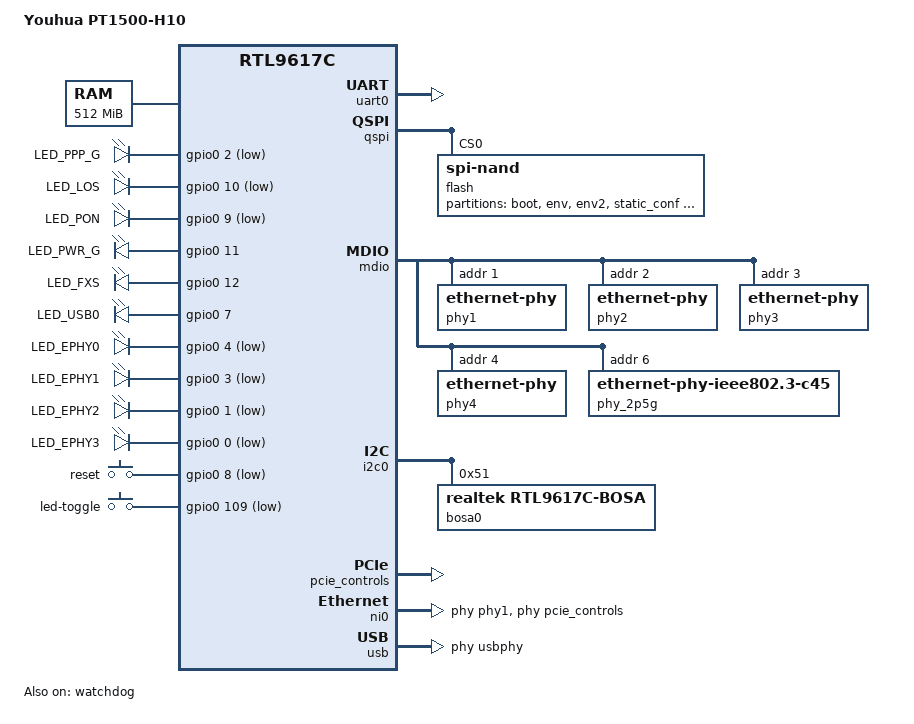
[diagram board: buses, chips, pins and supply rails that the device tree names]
// SPDX-License-Identifier: GPL-2.0-only
// Youhua PT1500-H10: 10G-EPON HGU on the RTL9617C (Cortina Taurus) reference
// design. Board facts (LED/button wiring, flash layout, reserved memory) are
// taken from this unit's own OEM DTB and live flash, not another Taurus board.
// No WiFi: the three PCIe controllers have no endpoints (PCIE2 clock gated);
// their nodes are omitted and only the shared pcie-controls block stays.
/dts-v1/;
#include "rtl9617c.dtsi"
#include <dt-bindings/gpio/gpio.h>
#include <dt-bindings/input/linux-event-codes.h>

/ {
	model = "Youhua PT1500-H10";
	compatible = "youhua,pt1500-h10", "realtek,rtl9617c";

	aliases {
		serial0 = &uart0;
		led-boot = &led_power;
		led-failsafe = &led_power;
		led-running = &led_power;
		led-upgrade = &led_power;
	};

	chosen {
		stdout-path = "serial0:115200n8";
		bootargs = "earlycon console=ttyS0,115200n8 loglevel=7 clk_ignore_unused maxcpus=4";
	};

	memory@0 {
		device_type = "memory";
		reg = <0 0 0 0x20000000>;
	};

	// Same reservations the OEM kernel carries; release only with live
	// firmware/BL31 evidence per reservation.
	reserved-memory {
		#address-cells = <2>;
		#size-cells = <2>;
		ranges;
		voip-vector@0 {
			reg = <0 0 0 0x1000>;
			no-map;
		};
		voip@2000000 {
			reg = <0 0x02000000 0 0x00300000>;
			no-map;
		};
		voip-ipc@2300000 {
			reg = <0 0x02300000 0 0x00100000>;
			no-map;
		};
		ddr-noncache@9000000 {
			reg = <0 0x09000000 0 0x01a50000>;
		};
		ddr-cache@bc48000 {
			reg = <0 0x0bc48000 0 0x10000>;
		};
		tz-smc@eeff000 {
			reg = <0 0x0eeff000 0 0x1000>;
			no-map;
		};
		tz@ffc0000 {
			reg = <0 0x0ffc0000 0 0x40000>;
		};
	};

	// Panel lamps exactly as the OEM rtk_gpio_led table wires them: all ten
	// sit on GPIO bank 0, mixed polarity (LED_EPHY0..3 and the PON/LOS/PPP
	// lamps are active low). Labels keep the OEM names because the target's
	// LED helpers (rc.button/lights_toggle, hotplug.d/iface) address them by
	// name.
	leds {
		compatible = "gpio-leds";

		internet {
			label = "LED_PPP_G";
			gpios = <&gpio0 2 GPIO_ACTIVE_LOW>;
			default-state = "off";
		};
		los {
			label = "LED_LOS";
			gpios = <&gpio0 10 GPIO_ACTIVE_LOW>;
		};
		pon {
			label = "LED_PON";
			gpios = <&gpio0 9 GPIO_ACTIVE_LOW>;
		};
		led_power: power {
			label = "LED_PWR_G";
			gpios = <&gpio0 11 GPIO_ACTIVE_HIGH>;
			default-state = "on";
		};
		phone {
			label = "LED_FXS";
			gpios = <&gpio0 12 GPIO_ACTIVE_HIGH>;
		};
		usb0 {
			label = "LED_USB0";
			gpios = <&gpio0 7 GPIO_ACTIVE_HIGH>;
			linux,default-trigger = "usbport";
		};
		lan0 {
			label = "LED_EPHY0";
			gpios = <&gpio0 4 GPIO_ACTIVE_LOW>;
		};
		lan1 {
			label = "LED_EPHY1";
			gpios = <&gpio0 3 GPIO_ACTIVE_LOW>;
		};
		lan2 {
			label = "LED_EPHY2";
			gpios = <&gpio0 1 GPIO_ACTIVE_LOW>;
		};
		lan3 {
			label = "LED_EPHY3";
			gpios = <&gpio0 0 GPIO_ACTIVE_LOW>;
		};
	};

	// OEM rtk_gpio board-reset-gpio is bank0 pin8, which is also U-Boot's
	// reset pin; the lights button is bank3 pin13 (gpio 96 + 13), the same
	// wiring the TYFZA1 uses.
	gpio-keys {
		compatible = "gpio-keys";

		reset {
			label = "reset";
			linux,code = <KEY_RESTART>;
			gpios = <&gpio0 8 GPIO_ACTIVE_LOW>;
			debounce-interval = <60>;
		};

		led-toggle {
			label = "led-toggle";
			linux,code = <KEY_LIGHTS_TOGGLE>;
			gpios = <&gpio0 109 GPIO_ACTIVE_LOW>;
			debounce-interval = <60>;
		};
	};
};

&uart0 {
	status = "okay";
};

// The OEM watchdog uses the same 134-cycle reset delay as TYFZA1.
&watchdog {
	reset-on-timeout;
	delay-reset = <134>;
	status = "okay";
};

&qspi {
	status = "okay";

	flash@0 {
		compatible = "spi-nand";
		reg = <0>;
		spi-tx-bus-width = <1>;
		spi-rx-bus-width = <1>;

		partitions {
			compatible = "fixed-partitions";
			#address-cells = <1>;
			#size-cells = <1>;

			partition@0 {
				label = "boot";
				reg = <0x0 0x200000>;
				read-only;
			};
			partition@280000 {
				label = "env";
				reg = <0x280000 0x40000>;
			};
			partition@2c0000 {
				label = "env2";
				reg = <0x2c0000 0x40000>;
			};
			partition@300000 {
				label = "static_conf";
				reg = <0x300000 0x40000>;
			};
			partition@340000 {
				label = "ubi_device";
				reg = <0x340000 0xf5c0000>;
			};
		};
	};
};

// PHY 1..4 are the four internal Taurus GPHYs behind the NI register window,
// not external RTL8211s: U-Boot reads 0x001ccac4 from each of them through
// 0xf4600000 (reg_base 0xf4600, phy_addr<<7, reg<<2). The 802.3 Clause 45
// part sits at address 7 on the MDIO pins (OEM scfg PHY 4 = addr 7, IF 0x0a).
&mdio {
	status = "okay";

	phy1: ethernet-phy@1 {
		reg = <1>;
	};
	phy2: ethernet-phy@2 {
		reg = <2>;
	};
	phy3: ethernet-phy@3 {
		reg = <3>;
	};
	phy4: ethernet-phy@4 {
		reg = <4>;
	};

	/* 2.5G jack: RTL8221B behind the Taurus SGMII lane, Clause 45 with the
	 * vendor HiSGMII bring-up (drivers/net/phy/realtek/rtl8221b-tyfza1.h).
	 * MDIO address 6: the bus scan reads 0x001cc849 there, while address 7
	 * (the OEM scfg table entry) answers nothing. */
	phy_2p5g: ethernet-phy@6 {
		compatible = "ethernet-phy-ieee802.3-c45";
		reg = <6>;
		realtek,hsgmii;
	};
};

&i2c0 {
	status = "okay";
	bosa0: optical-front-end@51 {
		compatible = "realtek,rtl9617c-bosa";
		reg = <0x51>;
	};
};

&{/soc} {
	pcie_controls: pcie-controls@f4320098 {
		compatible = "realtek,rtl9617c-pcie-controls";
		reg = <0 0xf4320098 0 4>, <0 0xf43200a0 0 4>,
		      <0 0xf43200c4 0 0x14>, <0 0xf432036c 0 4>, <0 0xf432009c 0 4>,
		      <4 0xf433b000 0 0x1000>, <0 0xf4600000 0 0x1000>;
		reg-names = "core-reset", "phy-reset", "phy-control", "power", "usb-reset",
			    "sgmii-analog", "sgmii-serdes";
		realtek,global-config = <&global_config>;
		#clock-cells = <1>;
		#reset-cells = <1>;
		#phy-cells = <1>;
	};

	gpio0: gpio@4f43292c0 {
		compatible = "realtek,rtl9617c-gpio";
		reg = <4 0xf43292c0 0 0xb4>;
		gpio-controller;
		#gpio-cells = <2>;
		gpio-ranges = <&pinctrl 0 0 160>;
	};

	ne_irq: interrupt-controller@f4320164 {
		compatible = "realtek,rtl9617c-per-ictl", "cortina,per-ictl";
		reg = <0 0xf4320164 0 0x10>;
		interrupt-controller;
		#interrupt-cells = <1>;
		#address-cells = <0>;
		interrupt-parent = <&gic>;
		interrupts = <GIC_SPI 1 IRQ_TYPE_LEVEL_HIGH>;
	};

	ni0: ethernet@4f4300000 {
		compatible = "realtek,rtl9617c-ni";
		reg = <4 0xf4300000 0 0x10000>, <0 0xf4500000 0 0x2000>,
		      <4 0xf7001000 0 0x1000>, <4 0xf432d000 0 0x1000>,
		      <4 0xf4320098 0 4>, <4 0xf432f000 0 0x1000>;
		reg-names = "ni", "xram", "dma-lso", "qm-axi-reorder", "block-reset",
			    "l3fe-axi-reorder";
		realtek,qm-rx;
		// Port 0 is the primary netdev of the NI; ports 1..3 ride the same
		// engine and port 4 is the SGMII lane that carries the 2.5G PHY.
		// NI port n (n < 4) carries external PHY n+1, which is the OEM's
		// MAC port n.
		realtek,port = <0>;
		phy-handle = <&phy1>;
		realtek,lan-phys = <&phy1 &phy2 &phy3 &phy4 &phy_2p5g>;
		phys = <&pcie_controls 5>;
		phy-names = "sgmii";
		interrupts = <GIC_SPI 84 IRQ_TYPE_LEVEL_HIGH>;
	};

	pon@4f5500000 {
		compatible = "realtek,rtl9617c-pon";
		realtek,network-engine = <&ni0>;
		realtek,optical-front-end = <&bosa0>;
		tx-disable-gpios = <&gpio0 15 GPIO_ACTIVE_HIGH>;
		reg = <4 0xf5500000 0 0xc000>, <4 0xf4320094 0 4>,
		      <4 0xf4320074 0 4>, <4 0xf432022c 0 4>,
		      <4 0xf4320080 0 8>, <4 0xf4320090 0 4>, <4 0xf4320180 0 8>, <4 0xf432007c 0 4>,
		      <4 0xf4329440 0 0x10>;
		reg-names = "mac", "control", "epon-control", "serdes-init", "optical-control", "optical-status", "top-irq", "gpon-control", "dying-gasp";
		interrupts-extended = <&ne_irq 5>, <&per_ictl 24>;
		interrupt-names = "pon", "dying-gasp";
		realtek,burst-polarity = <0>;
		realtek,los-invert = <0>;
	};

	usbphy: usb-phy@f432b020 {
		compatible = "realtek,rtl9617c-usb-phy";
		reg = <0 0xf432b020 0 0x18>, <0 0xf432b000 0 0x20>,
		      <0 0xf432b04c 0 0x10>, <0 0xf4337000 0 0x1000>,
		      <0 0xf432c500 0 0x1c>;
		reg-names = "usb2", "usb3", "extension", "serdes", "atu";
		#phy-cells = <0>;
		phys = <&pcie_controls 4>;
		phy-names = "lane";
		resets = <&pcie_controls 4>, <&pcie_controls 5>;
		reset-names = "core", "port1";
		// USB2 port-0 VBUS: stock bank4, pin13 (differs from TYFZA1).
		vbus-gpios = <&gpio0 141 GPIO_ACTIVE_HIGH>;
		realtek,usb2-addresses = [e0 e2 e4 e7 f4 e7 f4 e0 e0 e0];
		realtek,usb2-values-a = [1f f9 68 71 db 44 bb 25 21 25];
		realtek,usb3-addresses-a = [01 04 05 08 09 0a 0b 0d 0e 20 21 22 23 27 2b 33];
		realtek,usb3-values-a = /bits/ 16 <0xaccc 0x7000 0x6313 0x30d1 0x424c 0xa610 0xb905 0xef2e 0x1000 0x705e 0xf8e8 0x0003 0x0b66 0x0241 0x0038 0x0001>;
		realtek,usb2-values-b = [1f f9 6b 71 db 43 bb 26 22 26];
		realtek,usb3-addresses-b = [01 04 05 08 09 0a 0b 0d 0e 20 21 22 23 27 2b 33 09 09 09];
		realtek,usb3-values-b = /bits/ 16 <0xaccc 0x7000 0x6313 0x30d1 0x424c 0xc610 0xa905 0xef2e 0x1000 0x705e 0xf8e8 0x0003 0x0b66 0x0241 0x0038 0x0001 0x424c 0x404c 0x424c>;
	};

	usb: usb@f0200000 {
		compatible = "generic-xhci";
		reg = <0 0xf0200000 0 0x80000>;
		interrupts = <GIC_SPI 66 IRQ_TYPE_LEVEL_HIGH>;
		phys = <&usbphy>;
		phy-names = "usb";
	};
};
